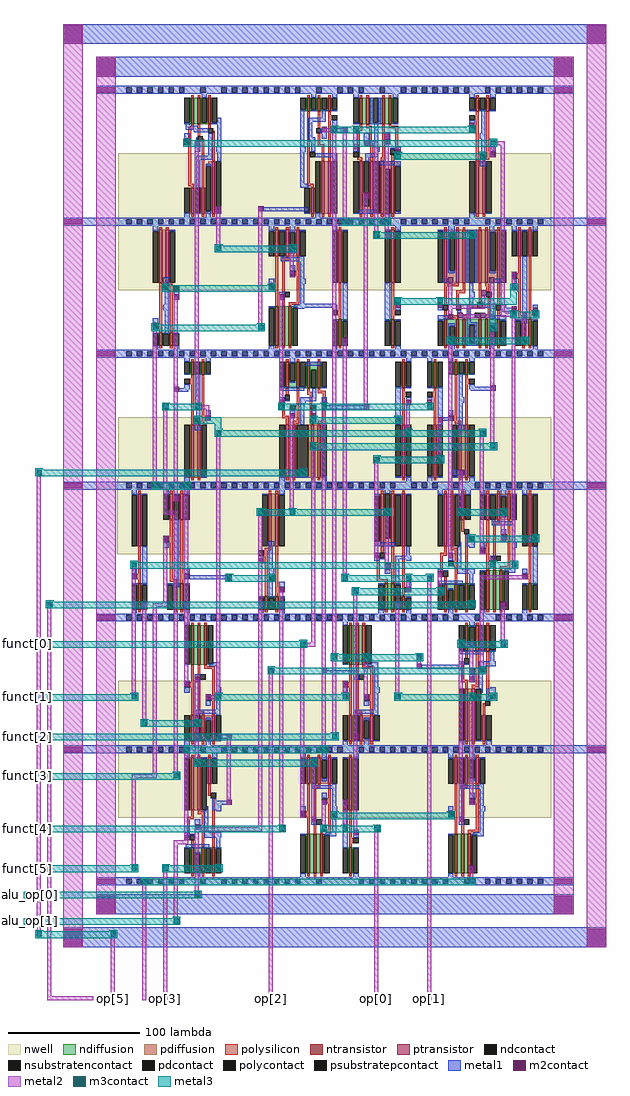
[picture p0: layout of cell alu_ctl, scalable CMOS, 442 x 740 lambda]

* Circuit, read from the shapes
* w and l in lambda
.subckt alu_ctl alu_op[0] alu_op[1] funct[0] funct[1] funct[2] funct[3] funct[4] funct[5] gnd op[0] op[1] op[2] op[3] op[4] op[5] op[6] vdd
M1 NAND3X1_2/B funct[1] gnd gnd nfet w=20 l=2
M2 NAND3X1_0/A NAND3X1_2/A gnd gnd nfet w=10 l=2
M3 gnd NOR2X1_2/A NAND3X1_0/A gnd nfet w=10 l=2
M4 n1 funct[5] NOR2X1_2/A gnd nfet w=20 l=2
M5 gnd NAND2X1_1/A n1 gnd nfet w=20 l=2
M6 gnd alu_op[1] n2 gnd nfet w=20 l=2
M7 n3 NAND3X1_2/A gnd gnd nfet w=30 l=2
M8 INVX2_2/A NOR2X1_2/A gnd gnd nfet w=10 l=2
M9 n4 funct[1] n5 gnd nfet w=20 l=2
M10 n6 NAND3X1_2/B n3 gnd nfet w=30 l=2
M11 gnd funct[3] n4 gnd nfet w=20 l=2
M12 n2 alu_op[0] gnd gnd nfet w=20 l=2
M13 gnd funct[3] INVX2_2/A gnd nfet w=10 l=2
M14 OAI21X1_2/C INVX2_2/A n6 gnd nfet w=30 l=2
M15 NAND3X1_0/C n5 gnd gnd nfet w=20 l=2
M16 op[3] OAI21X1_2/C n2 gnd nfet w=20 l=2
M17 NAND2X1_1/A alu_op[0] gnd gnd nfet w=10 l=2
M18 gnd funct[4] NAND2X1_1/A gnd nfet w=10 l=2
M19 n7 NAND3X1_0/A gnd gnd nfet w=30 l=2
M20 n8 alu_op[1] n7 gnd nfet w=30 l=2
M21 gnd alu_op[1] n9 gnd nfet w=20 l=2
M22 INVX2_0/A NAND3X1_0/C n8 gnd nfet w=30 l=2
M23 n9 alu_op[0] gnd gnd nfet w=20 l=2
M24 n10 funct[0] gnd gnd nfet w=30 l=2
M25 op[5] OAI22X1_0/D n9 gnd nfet w=20 l=2
M26 gnd n11 NAND3X1_2/A gnd nfet w=10 l=2
M27 n12 NAND3X1_2/B n10 gnd nfet w=30 l=2
M28 n9 OAI22X1_0/C op[5] gnd nfet w=20 l=2
M29 n11 funct[2] gnd gnd nfet w=10 l=2
M30 NAND3X1_5/A op[0] n12 gnd nfet w=30 l=2
M31 gnd OR2X1_0/A n11 gnd nfet w=10 l=2
M32 op[1] INVX2_0/A gnd gnd nfet w=20 l=2
M33 gnd INVX2_6/A op[0] gnd nfet w=20 l=2
M34 n13 INVX2_2/A gnd gnd nfet w=30 l=2
M35 n14 alu_op[1] n13 gnd nfet w=30 l=2
M36 n15 funct[2] gnd gnd nfet w=20 l=2
M37 INVX2_6/A funct[2] n14 gnd nfet w=30 l=2
M38 OAI22X1_0/C AOI22X1_0/D n15 gnd nfet w=20 l=2
M39 n16 OR2X1_0/A OAI22X1_0/C gnd nfet w=20 l=2
M40 n17 AOI21X1_0/A gnd gnd nfet w=20 l=2
M41 gnd AOI22X1_0/A n16 gnd nfet w=20 l=2
M42 NAND3X1_5/C alu_op[0] n17 gnd nfet w=20 l=2
M43 gnd funct[0] OR2X1_0/A gnd nfet w=20 l=2
M44 gnd op[1] NAND3X1_5/C gnd nfet w=10 l=2
M45 gnd INVX2_2/A OAI22X1_0/D gnd nfet w=20 l=2
M46 AOI21X1_0/A alu_op[1] gnd gnd nfet w=20 l=2
M47 gnd INVX2_6/A n18 gnd nfet w=20 l=2
M48 gnd funct[0] n19 gnd nfet w=20 l=2
M49 n20 NAND3X1_5/A gnd gnd nfet w=30 l=2
M50 n18 OAI21X1_0/B gnd gnd nfet w=20 l=2
M51 NAND3X1_1/C AOI21X1_0/A gnd gnd nfet w=10 l=2
M52 n21 funct[0] gnd gnd nfet w=20 l=2
M53 n22 NAND3X1_5/B n20 gnd nfet w=30 l=2
M54 AOI22X1_0/D funct[1] n21 gnd nfet w=20 l=2
M55 gnd funct[2] n23 gnd nfet w=20 l=2
M56 op[6] OAI21X1_0/C n18 gnd nfet w=20 l=2
M57 gnd funct[0] NAND3X1_1/C gnd nfet w=10 l=2
M58 op[4] NAND3X1_5/C n22 gnd nfet w=30 l=2
M59 n23 NAND3X1_5/B gnd gnd nfet w=20 l=2
M60 AOI22X1_0/A funct[2] gnd gnd nfet w=10 l=2
M61 n24 n25 AOI22X1_0/D gnd nfet w=20 l=2
M62 gnd n19 n24 gnd nfet w=20 l=2
M63 op[2] NAND3X1_5/C n23 gnd nfet w=20 l=2
M64 n26 INVX2_2/A gnd gnd nfet w=30 l=2
M65 gnd funct[1] AOI22X1_0/A gnd nfet w=10 l=2
M66 n27 funct[1] n26 gnd nfet w=30 l=2
M67 n25 funct[1] gnd gnd nfet w=20 l=2
M68 NAND3X1_5/B NAND3X1_1/C n27 gnd nfet w=30 l=2
M69 n28 funct[0] OAI21X1_0/B gnd nfet w=20 l=2
M70 OAI21X1_0/C op[2] gnd gnd nfet w=20 l=2
M71 gnd funct[1] n28 gnd nfet w=20 l=2
M72 NAND3X1_2/B funct[1] vdd vdd pfet w=40 l=2
M73 n29 NAND3X1_2/A vdd vdd pfet w=40 l=2
M74 NAND3X1_0/A NOR2X1_2/A n29 vdd pfet w=40 l=2
M75 NOR2X1_2/A funct[5] vdd vdd pfet w=20 l=2
M76 vdd NAND2X1_1/A NOR2X1_2/A vdd pfet w=20 l=2
M77 n30 alu_op[1] vdd vdd pfet w=40 l=2
M78 OAI21X1_2/C NAND3X1_2/A vdd vdd pfet w=20 l=2
M79 n31 NOR2X1_2/A vdd vdd pfet w=40 l=2
M80 n5 funct[1] vdd vdd pfet w=20 l=2
M81 op[3] alu_op[0] n30 vdd pfet w=40 l=2
M82 INVX2_2/A funct[3] n31 vdd pfet w=40 l=2
M83 vdd NAND3X1_2/B OAI21X1_2/C vdd pfet w=20 l=2
M84 vdd funct[3] n5 vdd pfet w=20 l=2
M85 vdd OAI21X1_2/C op[3] vdd pfet w=20 l=2
M86 OAI21X1_2/C INVX2_2/A vdd vdd pfet w=20 l=2
M87 NAND3X1_0/C n5 vdd vdd pfet w=40 l=2
M88 n32 alu_op[0] NAND2X1_1/A vdd pfet w=40 l=2
M89 vdd funct[4] n32 vdd pfet w=40 l=2
M90 INVX2_0/A NAND3X1_0/A vdd vdd pfet w=20 l=2
M91 n33 alu_op[1] vdd vdd pfet w=40 l=2
M92 vdd alu_op[1] INVX2_0/A vdd pfet w=20 l=2
M93 op[5] alu_op[0] n33 vdd pfet w=40 l=2
M94 INVX2_0/A NAND3X1_0/C vdd vdd pfet w=20 l=2
M95 NAND3X1_5/A funct[0] vdd vdd pfet w=20 l=2
M96 n34 OAI22X1_0/D op[5] vdd pfet w=40 l=2
M97 vdd n11 NAND3X1_2/A vdd pfet w=20 l=2
M98 vdd NAND3X1_2/B NAND3X1_5/A vdd pfet w=20 l=2
M99 vdd OAI22X1_0/C n34 vdd pfet w=40 l=2
M100 n35 funct[2] vdd vdd pfet w=40 l=2
M101 NAND3X1_5/A op[0] vdd vdd pfet w=20 l=2
M102 n11 OR2X1_0/A n35 vdd pfet w=40 l=2
M103 op[1] INVX2_0/A vdd vdd pfet w=40 l=2
M104 vdd INVX2_6/A op[0] vdd pfet w=40 l=2
M105 INVX2_6/A INVX2_2/A vdd vdd pfet w=20 l=2
M106 vdd alu_op[1] INVX2_6/A vdd pfet w=20 l=2
M107 OAI22X1_0/C funct[2] n36 vdd pfet w=40 l=2
M108 INVX2_6/A funct[2] vdd vdd pfet w=20 l=2
M109 n36 AOI22X1_0/D OAI22X1_0/C vdd pfet w=40 l=2
M110 vdd AOI21X1_0/A n37 vdd pfet w=40 l=2
M111 vdd OR2X1_0/A n36 vdd pfet w=40 l=2
M112 n37 alu_op[0] vdd vdd pfet w=40 l=2
M113 vdd funct[0] OR2X1_0/A vdd pfet w=40 l=2
M114 n36 AOI22X1_0/A vdd vdd pfet w=40 l=2
M115 NAND3X1_5/C op[1] n37 vdd pfet w=40 l=2
M116 vdd INVX2_2/A OAI22X1_0/D vdd pfet w=40 l=2
M117 AOI21X1_0/A alu_op[1] vdd vdd pfet w=40 l=2
M118 n38 INVX2_6/A vdd vdd pfet w=40 l=2
M119 vdd funct[0] n19 vdd pfet w=40 l=2
M120 op[6] OAI21X1_0/B n38 vdd pfet w=40 l=2
M121 op[4] NAND3X1_5/A vdd vdd pfet w=20 l=2
M122 n39 funct[0] vdd vdd pfet w=40 l=2
M123 n40 AOI21X1_0/A NAND3X1_1/C vdd pfet w=40 l=2
M124 vdd OAI21X1_0/C op[6] vdd pfet w=20 l=2
M125 AOI22X1_0/D n25 n39 vdd pfet w=40 l=2
M126 vdd NAND3X1_5/B op[4] vdd pfet w=20 l=2
M127 n41 funct[2] vdd vdd pfet w=40 l=2
M128 vdd funct[0] n40 vdd pfet w=40 l=2
M129 op[2] NAND3X1_5/B n41 vdd pfet w=40 l=2
M130 op[4] NAND3X1_5/C vdd vdd pfet w=20 l=2
M131 n42 funct[2] vdd vdd pfet w=40 l=2
M132 n43 funct[1] AOI22X1_0/D vdd pfet w=40 l=2
M133 vdd NAND3X1_5/C op[2] vdd pfet w=20 l=2
M134 AOI22X1_0/A funct[1] n42 vdd pfet w=40 l=2
M135 vdd n19 n43 vdd pfet w=40 l=2
M136 NAND3X1_5/B INVX2_2/A vdd vdd pfet w=20 l=2
M137 vdd funct[1] NAND3X1_5/B vdd pfet w=20 l=2
M138 n25 funct[1] vdd vdd pfet w=40 l=2
M139 NAND3X1_5/B NAND3X1_1/C vdd vdd pfet w=20 l=2
M140 OAI21X1_0/B funct[0] vdd vdd pfet w=20 l=2
M141 OAI21X1_0/C op[2] vdd vdd pfet w=40 l=2
M142 vdd funct[1] OAI21X1_0/B vdd pfet w=20 l=2
.ends

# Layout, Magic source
magic
tech scmos
<< metal1 >>
rect 30 725 442 740
rect 55 700 417 715
rect 55 687 417 693
rect 234 661 238 664
rect 225 657 230 661
rect 234 658 245 661
rect 130 643 134 652
rect 258 648 262 657
rect 346 632 350 642
rect 178 598 216 601
rect 30 587 442 593
rect 106 538 110 548
rect 210 525 237 528
rect 363 522 373 525
rect 55 487 417 493
rect 114 461 125 464
rect 339 462 357 465
rect 227 448 261 451
rect 130 432 134 442
rect 314 439 325 442
rect 325 398 334 402
rect 30 387 442 393
rect 335 344 342 352
rect 123 319 157 322
rect 186 318 190 327
rect 55 287 417 293
rect 298 251 333 254
rect 226 247 253 250
rect 345 248 350 257
rect 351 228 358 236
rect 147 198 157 201
rect 30 187 442 193
rect 143 148 157 151
rect 143 144 150 148
rect 234 138 238 147
rect 55 87 417 93
rect 55 65 417 80
rect 30 40 442 55
<< metal2 >>
rect 10 48 13 401
rect 18 3 21 301
rect 30 40 45 740
rect 55 65 70 715
rect 226 658 237 661
rect 98 388 101 511
rect 106 371 109 451
rect 114 378 117 534
rect 130 451 133 651
rect 146 568 149 601
rect 178 508 181 601
rect 202 548 205 571
rect 194 451 197 534
rect 130 448 141 451
rect 138 439 141 448
rect 106 368 117 371
rect 82 228 85 331
rect 106 301 109 351
rect 90 208 93 301
rect 98 298 109 301
rect 98 171 101 298
rect 82 168 101 171
rect 114 168 117 368
rect 122 238 125 391
rect 82 98 85 168
rect 122 121 125 191
rect 130 178 133 244
rect 146 231 149 431
rect 138 228 149 231
rect 154 148 157 201
rect 178 131 181 371
rect 202 368 205 444
rect 114 118 125 121
rect 130 128 181 131
rect 18 0 53 3
rect 66 0 69 51
rect 90 0 93 91
rect 106 0 109 101
rect 114 58 117 118
rect 130 78 133 128
rect 186 0 189 251
rect 194 128 197 312
rect 218 271 221 421
rect 210 268 221 271
rect 210 138 213 268
rect 226 188 229 451
rect 234 198 237 658
rect 242 588 245 661
rect 250 645 253 661
rect 258 648 269 651
rect 242 318 245 501
rect 258 448 261 611
rect 266 578 269 648
rect 274 578 277 657
rect 354 648 365 651
rect 354 639 357 648
rect 362 521 365 648
rect 370 538 373 551
rect 362 518 373 521
rect 290 428 293 454
rect 266 335 269 411
rect 314 408 317 441
rect 274 326 277 371
rect 322 335 325 501
rect 330 368 333 401
rect 346 338 349 431
rect 354 418 357 511
rect 362 348 365 371
rect 370 328 373 518
rect 378 498 381 521
rect 242 228 245 241
rect 218 135 221 181
rect 226 128 229 151
rect 242 128 245 151
rect 250 125 253 311
rect 290 309 293 321
rect 258 228 261 261
rect 282 228 285 301
rect 298 251 301 261
rect 266 0 269 131
rect 306 0 309 321
rect 314 308 317 324
rect 346 319 381 322
rect 330 268 341 271
rect 330 135 333 268
rect 338 241 341 268
rect 346 248 349 319
rect 362 268 365 301
rect 338 148 341 231
rect 338 88 341 101
rect 402 65 417 715
rect 427 40 442 740
<< metal3 >>
rect 233 657 342 662
rect 121 647 358 652
rect 281 637 350 642
rect 241 587 278 592
rect 265 577 342 582
rect 145 567 206 572
rect 105 537 190 542
rect 369 532 374 542
rect 281 527 374 532
rect 97 507 182 512
rect 353 507 358 527
rect 369 517 390 522
rect 321 497 382 502
rect 105 447 134 452
rect 193 447 310 452
rect 129 437 150 442
rect 217 437 286 442
rect 145 432 150 437
rect 145 427 350 432
rect 217 417 358 422
rect 265 407 318 412
rect 9 397 214 402
rect 97 387 126 392
rect 177 367 278 372
rect 329 367 366 372
rect 337 347 390 352
rect 81 327 374 332
rect 153 317 190 322
rect 241 317 310 322
rect 249 307 318 312
rect 17 297 342 302
rect 0 267 214 272
rect 329 267 366 272
rect 233 257 302 262
rect 185 247 350 252
rect 0 227 86 232
rect 145 227 246 232
rect 281 227 358 232
rect 89 207 134 212
rect 0 197 238 202
rect 121 187 230 192
rect 129 177 222 182
rect 0 167 118 172
rect 233 137 326 142
rect 0 127 198 132
rect 225 127 270 132
rect 0 97 86 102
rect 105 97 150 102
rect 89 87 342 92
rect 0 77 134 82
rect 0 57 118 62
rect 9 47 70 52
use $$M2_M1_1500_1500_3_3  $$M2_M1_1500_1500_3_3_0
transform 1 0 37 0 1 732
box -7 -7 7 7
use $$M2_M1_1500_1500_3_3  $$M2_M1_1500_1500_3_3_1
transform 1 0 434 0 1 732
box -7 -7 7 7
use $$M2_M1_1500_1500_3_3  $$M2_M1_1500_1500_3_3_2
transform 1 0 62 0 1 707
box -7 -7 7 7
use $$M2_M1_1500_1500_3_3  $$M2_M1_1500_1500_3_3_3
transform 1 0 409 0 1 707
box -7 -7 7 7
use $$M2_M1_1500_1500_3_1  $$M2_M1_1500_1500_3_1_0
transform 1 0 62 0 1 690
box -7 -2 7 2
use $$M2_M1  $$M2_M1_0
transform 1 0 124 0 1 650
box -2 -2 2 2
use $$M3_M2  $$M3_M2_0
transform 1 0 124 0 1 650
box -3 -3 3 3
use $$M2_M1  $$M2_M1_1
transform 1 0 132 0 1 650
box -2 -2 2 2
use $$M2_M1  $$M2_M1_5
transform 1 0 148 0 1 600
box -2 -2 2 2
use $$M2_M1  $$M2_M1_6
transform 1 0 180 0 1 600
box -2 -2 2 2
use $$M2_M1  $$M2_M1_3
transform 1 0 228 0 1 660
box -2 -2 2 2
use $$M3_M2  $$M3_M2_1
transform 1 0 236 0 1 660
box -3 -3 3 3
use $$M2_M1  $$M2_M1_4
transform 1 0 244 0 1 660
box -2 -2 2 2
use $$M3_M2  $$M3_M2_2
transform 1 0 252 0 1 660
box -3 -3 3 3
use $$M2_M1  $$M2_M1_7
transform 1 0 276 0 1 656
box -2 -2 2 2
use $$M2_M1  $$M2_M1_9
transform 1 0 252 0 1 647
box -2 -2 2 2
use $$M2_M1  $$M2_M1_8
transform 1 0 260 0 1 650
box -2 -2 2 2
use $$M2_M1  $$M2_M1_10
transform 1 0 284 0 1 643
box -2 -2 2 2
use $$M3_M2  $$M3_M2_5
transform 1 0 284 0 1 640
box -3 -3 3 3
use $$M2_M1  $$M2_M1_13
transform 1 0 260 0 1 610
box -2 -2 2 2
use $$M2_M1  $$M2_M1_2
transform 1 0 340 0 1 663
box -2 -2 2 2
use $$M3_M2  $$M3_M2_3
transform 1 0 340 0 1 660
box -3 -3 3 3
use $$M3_M2  $$M3_M2_4
transform 1 0 356 0 1 650
box -3 -3 3 3
use $$M2_M1  $$M2_M1_12
transform 1 0 348 0 1 640
box -2 -2 2 2
use $$M3_M2  $$M3_M2_6
transform 1 0 348 0 1 640
box -3 -3 3 3
use $$M2_M1  $$M2_M1_11
transform 1 0 356 0 1 641
box -2 -2 2 2
use $$M2_M1_1500_1500_3_1  $$M2_M1_1500_1500_3_1_1
transform 1 0 409 0 1 690
box -7 -2 7 2
use $$M2_M1_1500_1500_3_1  $$M2_M1_1500_1500_3_1_2
transform 1 0 37 0 1 590
box -7 -2 7 2
use FILL  FILL_0
transform 1 0 80 0 -1 690
box -8 -3 16 105
use FILL  FILL_1
transform 1 0 88 0 -1 690
box -8 -3 16 105
use FILL  FILL_2
transform 1 0 96 0 -1 690
box -8 -3 16 105
use FILL  FILL_3
transform 1 0 104 0 -1 690
box -8 -3 16 105
use FILL  FILL_4
transform 1 0 112 0 -1 690
box -8 -3 16 105
use AND2X2  AND2X2_0
transform 1 0 120 0 -1 690
box -8 -3 40 105
use FILL  FILL_5
transform 1 0 152 0 -1 690
box -8 -3 16 105
use FILL  FILL_6
transform 1 0 160 0 -1 690
box -8 -3 16 105
use FILL  FILL_7
transform 1 0 168 0 -1 690
box -8 -3 16 105
use FILL  FILL_8
transform 1 0 176 0 -1 690
box -8 -3 16 105
use FILL  FILL_9
transform 1 0 184 0 -1 690
box -8 -3 16 105
use FILL  FILL_10
transform 1 0 192 0 -1 690
box -8 -3 16 105
use FILL  FILL_11
transform 1 0 200 0 -1 690
box -8 -3 16 105
use $$M3_M2  $$M3_M2_7
transform 1 0 244 0 1 590
box -3 -3 3 3
use OR2X1  OR2X1_0
transform -1 0 240 0 -1 690
box -8 -3 40 105
use FILL  FILL_12
transform 1 0 240 0 -1 690
box -8 -3 16 105
use $$M3_M2  $$M3_M2_14
transform 1 0 276 0 1 590
box -3 -3 3 3
use AOI22X1  AOI22X1_0
transform -1 0 288 0 -1 690
box -8 -3 46 105
use FILL  FILL_13
transform 1 0 288 0 -1 690
box -8 -3 16 105
use FILL  FILL_14
transform 1 0 296 0 -1 690
box -8 -3 16 105
use FILL  FILL_15
transform 1 0 304 0 -1 690
box -8 -3 16 105
use FILL  FILL_16
transform 1 0 312 0 -1 690
box -8 -3 16 105
use FILL  FILL_17
transform 1 0 320 0 -1 690
box -8 -3 16 105
use FILL  FILL_18
transform 1 0 328 0 -1 690
box -8 -3 16 105
use NOR2X1  NOR2X1_0
transform 1 0 336 0 -1 690
box -8 -3 32 105
use FILL  FILL_19
transform 1 0 360 0 -1 690
box -8 -3 16 105
use FILL  FILL_20
transform 1 0 368 0 -1 690
box -8 -3 16 105
use FILL  FILL_21
transform 1 0 376 0 -1 690
box -8 -3 16 105
use FILL  FILL_22
transform 1 0 384 0 -1 690
box -8 -3 16 105
use $$M2_M1_1500_1500_3_1  $$M2_M1_1500_1500_3_1_4
transform 1 0 434 0 1 590
box -7 -2 7 2
use $$M2_M1  $$M2_M1_15
transform 1 0 108 0 1 540
box -2 -2 2 2
use $$M3_M2  $$M3_M2_10
transform 1 0 108 0 1 540
box -3 -3 3 3
use $$M2_M1  $$M2_M1_19
transform 1 0 100 0 1 511
box -2 -2 2 2
use $$M3_M2  $$M3_M2_12
transform 1 0 100 0 1 510
box -3 -3 3 3
use $$M2_M1  $$M2_M1_17
transform 1 0 116 0 1 533
box -2 -2 2 2
use $$M3_M2  $$M3_M2_8
transform 1 0 148 0 1 570
box -3 -3 3 3
use $$M3_M2  $$M3_M2_9
transform 1 0 204 0 1 570
box -3 -3 3 3
use $$M2_M1  $$M2_M1_14
transform 1 0 204 0 1 550
box -2 -2 2 2
use $$M2_M1  $$M2_M1_16
transform 1 0 188 0 1 540
box -2 -2 2 2
use $$M3_M2  $$M3_M2_11
transform 1 0 188 0 1 540
box -3 -3 3 3
use $$M3_M2  $$M3_M2_13
transform 1 0 180 0 1 510
box -3 -3 3 3
use $$M2_M1  $$M2_M1_18
transform 1 0 196 0 1 533
box -2 -2 2 2
use $$M2_M1  $$M2_M1_20
transform 1 0 244 0 1 500
box -2 -2 2 2
use $$M3_M2  $$M3_M2_15
transform 1 0 268 0 1 580
box -3 -3 3 3
use $$M2_M1  $$M2_M1_21
transform 1 0 276 0 1 580
box -2 -2 2 2
use $$M3_M2  $$M3_M2_18
transform 1 0 284 0 1 530
box -3 -3 3 3
use $$M2_M1  $$M2_M1_24
transform 1 0 284 0 1 527
box -2 -2 2 2
use $$M2_M1  $$M2_M1_22
transform 1 0 340 0 1 580
box -2 -2 2 2
use $$M3_M2  $$M3_M2_16
transform 1 0 340 0 1 580
box -3 -3 3 3
use $$M3_M2  $$M3_M2_19
transform 1 0 316 0 1 530
box -3 -3 3 3
use $$M2_M1  $$M2_M1_25
transform 1 0 316 0 1 527
box -2 -2 2 2
use $$M2_M1  $$M2_M1_23
transform 1 0 372 0 1 550
box -2 -2 2 2
use $$M3_M2  $$M3_M2_17
transform 1 0 372 0 1 540
box -3 -3 3 3
use $$M2_M1  $$M2_M1_26
transform 1 0 372 0 1 524
box -2 -2 2 2
use $$M3_M2  $$M3_M2_20
transform 1 0 372 0 1 520
box -3 -3 3 3
use $$M2_M1  $$M2_M1_28
transform 1 0 380 0 1 520
box -2 -2 2 2
use $$M2_M1  $$M2_M1_27
transform 1 0 388 0 1 523
box -2 -2 2 2
use $$M3_M2  $$M3_M2_21
transform 1 0 388 0 1 520
box -3 -3 3 3
use $$M3_M2  $$M3_M2_22
transform 1 0 356 0 1 510
box -3 -3 3 3
use $$M3_M2  $$M3_M2_23
transform 1 0 324 0 1 500
box -3 -3 3 3
use $$M3_M2  $$M3_M2_24
transform 1 0 380 0 1 500
box -3 -3 3 3
use $$M2_M1_1500_1500_3_1  $$M2_M1_1500_1500_3_1_3
transform 1 0 62 0 1 490
box -7 -2 7 2
use FILL  FILL_23
transform -1 0 88 0 1 490
box -8 -3 16 105
use FILL  FILL_24
transform -1 0 96 0 1 490
box -8 -3 16 105
use NOR2X1  NOR2X1_1
transform 1 0 96 0 1 490
box -8 -3 32 105
use FILL  FILL_25
transform -1 0 128 0 1 490
box -8 -3 16 105
use FILL  FILL_26
transform -1 0 136 0 1 490
box -8 -3 16 105
use FILL  FILL_27
transform -1 0 144 0 1 490
box -8 -3 16 105
use FILL  FILL_28
transform -1 0 152 0 1 490
box -8 -3 16 105
use FILL  FILL_29
transform -1 0 160 0 1 490
box -8 -3 16 105
use FILL  FILL_30
transform -1 0 168 0 1 490
box -8 -3 16 105
use FILL  FILL_31
transform -1 0 176 0 1 490
box -8 -3 16 105
use FILL  FILL_32
transform -1 0 184 0 1 490
box -8 -3 16 105
use NAND3X1  NAND3X1_0
transform 1 0 184 0 1 490
box -8 -3 40 105
use FILL  FILL_33
transform -1 0 224 0 1 490
box -8 -3 16 105
use FILL  FILL_34
transform -1 0 232 0 1 490
box -8 -3 16 105
use INVX2  INVX2_0
transform 1 0 232 0 1 490
box -9 -3 26 105
use FILL  FILL_35
transform -1 0 256 0 1 490
box -8 -3 16 105
use FILL  FILL_51
transform -1 0 264 0 1 490
box -8 -3 16 105
use FILL  FILL_52
transform -1 0 272 0 1 490
box -8 -3 16 105
use INVX2  INVX2_1
transform -1 0 288 0 1 490
box -9 -3 26 105
use FILL  FILL_53
transform -1 0 296 0 1 490
box -8 -3 16 105
use FILL  FILL_54
transform -1 0 304 0 1 490
box -8 -3 16 105
use FILL  FILL_55
transform -1 0 312 0 1 490
box -8 -3 16 105
use XOR2X1  XOR2X1_0
transform -1 0 368 0 1 490
box -8 -3 64 105
use NAND2X1  NAND2X1_0
transform -1 0 392 0 1 490
box -8 -3 32 105
use $$M2_M1_1500_1500_3_1  $$M2_M1_1500_1500_3_1_5
transform 1 0 409 0 1 490
box -7 -2 7 2
use $$M3_M2  $$M3_M2_36
transform 1 0 12 0 1 400
box -3 -3 3 3
use $$M2_M1  $$M2_M1_29
transform 1 0 116 0 1 463
box -2 -2 2 2
use $$M3_M2  $$M3_M2_25
transform 1 0 108 0 1 450
box -3 -3 3 3
use $$M3_M2  $$M3_M2_26
transform 1 0 132 0 1 450
box -3 -3 3 3
use $$M2_M1  $$M2_M1_36
transform 1 0 132 0 1 440
box -2 -2 2 2
use $$M3_M2  $$M3_M2_29
transform 1 0 132 0 1 440
box -3 -3 3 3
use $$M2_M1  $$M2_M1_35
transform 1 0 140 0 1 441
box -2 -2 2 2
use $$M3_M2  $$M3_M2_32
transform 1 0 148 0 1 430
box -3 -3 3 3
use $$M2_M1  $$M2_M1_30
transform 1 0 196 0 1 453
box -2 -2 2 2
use $$M3_M2  $$M3_M2_27
transform 1 0 196 0 1 450
box -3 -3 3 3
use $$M3_M2  $$M3_M2_28
transform 1 0 228 0 1 450
box -3 -3 3 3
use $$M2_M1  $$M2_M1_33
transform 1 0 204 0 1 443
box -2 -2 2 2
use $$M2_M1  $$M2_M1_34
transform 1 0 220 0 1 443
box -2 -2 2 2
use $$M3_M2  $$M3_M2_30
transform 1 0 220 0 1 440
box -3 -3 3 3
use $$M3_M2  $$M3_M2_34
transform 1 0 220 0 1 420
box -3 -3 3 3
use $$M2_M1  $$M2_M1_38
transform 1 0 212 0 1 400
box -2 -2 2 2
use $$M3_M2  $$M3_M2_37
transform 1 0 212 0 1 400
box -3 -3 3 3
use $$M2_M1  $$M2_M1_32
transform 1 0 260 0 1 450
box -2 -2 2 2
use $$M3_M2  $$M3_M2_35
transform 1 0 268 0 1 410
box -3 -3 3 3
use $$M2_M1  $$M2_M1_31
transform 1 0 292 0 1 453
box -2 -2 2 2
use $$M2_M1  $$M2_M1_37
transform 1 0 284 0 1 440
box -2 -2 2 2
use $$M3_M2  $$M3_M2_31
transform 1 0 284 0 1 440
box -3 -3 3 3
use $$M3_M2  $$M3_M2_33
transform 1 0 292 0 1 430
box -3 -3 3 3
use $$M2_M1  $$M2_M1_40
transform 1 0 308 0 1 453
box -2 -2 2 2
use $$M3_M2  $$M3_M2_40
transform 1 0 308 0 1 450
box -3 -3 3 3
use $$M2_M1  $$M2_M1_41
transform 1 0 316 0 1 440
box -2 -2 2 2
use $$M3_M2  $$M3_M2_43
transform 1 0 316 0 1 410
box -3 -3 3 3
use $$M2_M1  $$M2_M1_42
transform 1 0 332 0 1 400
box -2 -2 2 2
use $$M2_M1  $$M2_M1_39
transform 1 0 356 0 1 464
box -2 -2 2 2
use $$M3_M2  $$M3_M2_41
transform 1 0 348 0 1 430
box -3 -3 3 3
use $$M3_M2  $$M3_M2_42
transform 1 0 356 0 1 420
box -3 -3 3 3
use $$M2_M1_1500_1500_3_1  $$M2_M1_1500_1500_3_1_6
transform 1 0 37 0 1 390
box -7 -2 7 2
use FILL  FILL_36
transform 1 0 80 0 -1 490
box -8 -3 16 105
use $$M3_M2  $$M3_M2_38
transform 1 0 100 0 1 390
box -3 -3 3 3
use FILL  FILL_37
transform 1 0 88 0 -1 490
box -8 -3 16 105
use FILL  FILL_38
transform 1 0 96 0 -1 490
box -8 -3 16 105
use FILL  FILL_39
transform 1 0 104 0 -1 490
box -8 -3 16 105
use $$M3_M2  $$M3_M2_39
transform 1 0 124 0 1 390
box -3 -3 3 3
use FILL  FILL_40
transform 1 0 112 0 -1 490
box -8 -3 16 105
use NOR2X1  NOR2X1_2
transform 1 0 120 0 -1 490
box -8 -3 32 105
use FILL  FILL_41
transform 1 0 144 0 -1 490
box -8 -3 16 105
use FILL  FILL_42
transform 1 0 152 0 -1 490
box -8 -3 16 105
use FILL  FILL_43
transform 1 0 160 0 -1 490
box -8 -3 16 105
use FILL  FILL_44
transform 1 0 168 0 -1 490
box -8 -3 16 105
use FILL  FILL_45
transform 1 0 176 0 -1 490
box -8 -3 16 105
use FILL  FILL_46
transform 1 0 184 0 -1 490
box -8 -3 16 105
use OAI22X1  OAI22X1_0
transform 1 0 192 0 -1 490
box -8 -3 46 105
use FILL  FILL_47
transform 1 0 232 0 -1 490
box -8 -3 16 105
use FILL  FILL_48
transform 1 0 240 0 -1 490
box -8 -3 16 105
use FILL  FILL_49
transform 1 0 248 0 -1 490
box -8 -3 16 105
use FILL  FILL_50
transform 1 0 256 0 -1 490
box -8 -3 16 105
use FILL  FILL_56
transform 1 0 264 0 -1 490
box -8 -3 16 105
use FILL  FILL_57
transform 1 0 272 0 -1 490
box -8 -3 16 105
use INVX2  INVX2_2
transform -1 0 296 0 -1 490
box -9 -3 26 105
use FILL  FILL_58
transform 1 0 296 0 -1 490
box -8 -3 16 105
use INVX2  INVX2_3
transform 1 0 304 0 -1 490
box -9 -3 26 105
use NOR2X1  NOR2X1_3
transform -1 0 344 0 -1 490
box -8 -3 32 105
use FILL  FILL_59
transform 1 0 344 0 -1 490
box -8 -3 16 105
use FILL  FILL_60
transform 1 0 352 0 -1 490
box -8 -3 16 105
use FILL  FILL_61
transform 1 0 360 0 -1 490
box -8 -3 16 105
use FILL  FILL_62
transform 1 0 368 0 -1 490
box -8 -3 16 105
use FILL  FILL_63
transform 1 0 376 0 -1 490
box -8 -3 16 105
use FILL  FILL_64
transform 1 0 384 0 -1 490
box -8 -3 16 105
use $$M2_M1_1500_1500_3_1  $$M2_M1_1500_1500_3_1_7
transform 1 0 434 0 1 390
box -7 -2 7 2
use $$M3_M2  $$M3_M2_51
transform 1 0 84 0 1 330
box -3 -3 3 3
use $$M2_M1  $$M2_M1_55
transform 1 0 84 0 1 321
box -2 -2 2 2
use $$M3_M2  $$M3_M2_61
transform 1 0 20 0 1 300
box -3 -3 3 3
use $$M2_M1  $$M2_M1_61
transform 1 0 92 0 1 300
box -2 -2 2 2
use $$M2_M1  $$M2_M1_43
transform 1 0 116 0 1 380
box -2 -2 2 2
use $$M2_M1  $$M2_M1_44
transform 1 0 108 0 1 350
box -2 -2 2 2
use $$M2_M1  $$M2_M1_56
transform 1 0 156 0 1 321
box -2 -2 2 2
use $$M3_M2  $$M3_M2_54
transform 1 0 156 0 1 320
box -3 -3 3 3
use $$M3_M2  $$M3_M2_44
transform 1 0 180 0 1 370
box -3 -3 3 3
use $$M2_M1  $$M2_M1_52
transform 1 0 180 0 1 333
box -2 -2 2 2
use $$M2_M1  $$M2_M1_58
transform 1 0 188 0 1 320
box -2 -2 2 2
use $$M3_M2  $$M3_M2_55
transform 1 0 188 0 1 320
box -3 -3 3 3
use $$M3_M2  $$M3_M2_45
transform 1 0 204 0 1 370
box -3 -3 3 3
use $$M2_M1  $$M2_M1_59
transform 1 0 196 0 1 311
box -2 -2 2 2
use $$M3_M2  $$M3_M2_56
transform 1 0 244 0 1 320
box -3 -3 3 3
use $$M3_M2  $$M3_M2_59
transform 1 0 252 0 1 310
box -3 -3 3 3
use $$M3_M2  $$M3_M2_46
transform 1 0 276 0 1 370
box -3 -3 3 3
use $$M2_M1  $$M2_M1_49
transform 1 0 268 0 1 337
box -2 -2 2 2
use $$M2_M1  $$M2_M1_53
transform 1 0 276 0 1 328
box -2 -2 2 2
use $$M3_M2  $$M3_M2_57
transform 1 0 292 0 1 320
box -3 -3 3 3
use $$M2_M1  $$M2_M1_60
transform 1 0 292 0 1 311
box -2 -2 2 2
use $$M2_M1  $$M2_M1_62
transform 1 0 284 0 1 300
box -2 -2 2 2
use $$M3_M2  $$M3_M2_47
transform 1 0 332 0 1 370
box -3 -3 3 3
use $$M3_M2  $$M3_M2_48
transform 1 0 364 0 1 370
box -3 -3 3 3
use $$M2_M1  $$M2_M1_45
transform 1 0 340 0 1 350
box -2 -2 2 2
use $$M3_M2  $$M3_M2_49
transform 1 0 340 0 1 350
box -3 -3 3 3
use $$M2_M1  $$M2_M1_46
transform 1 0 364 0 1 350
box -2 -2 2 2
use $$M2_M1  $$M2_M1_50
transform 1 0 324 0 1 337
box -2 -2 2 2
use $$M3_M2  $$M3_M2_58
transform 1 0 308 0 1 320
box -3 -3 3 3
use $$M2_M1  $$M2_M1_54
transform 1 0 316 0 1 323
box -2 -2 2 2
use $$M3_M2  $$M3_M2_60
transform 1 0 316 0 1 310
box -3 -3 3 3
use $$M2_M1  $$M2_M1_48
transform 1 0 348 0 1 340
box -2 -2 2 2
use $$M2_M1  $$M2_M1_47
transform 1 0 388 0 1 350
box -2 -2 2 2
use $$M3_M2  $$M3_M2_50
transform 1 0 388 0 1 350
box -3 -3 3 3
use $$M2_M1  $$M2_M1_51
transform 1 0 356 0 1 334
box -2 -2 2 2
use $$M3_M2  $$M3_M2_52
transform 1 0 356 0 1 330
box -3 -3 3 3
use $$M3_M2  $$M3_M2_53
transform 1 0 372 0 1 330
box -3 -3 3 3
use $$M2_M1  $$M2_M1_63
transform 1 0 340 0 1 300
box -2 -2 2 2
use $$M3_M2  $$M3_M2_62
transform 1 0 340 0 1 300
box -3 -3 3 3
use $$M2_M1  $$M2_M1_57
transform 1 0 380 0 1 321
box -2 -2 2 2
use $$M2_M1  $$M2_M1_64
transform 1 0 364 0 1 300
box -2 -2 2 2
use $$M2_M1_1500_1500_3_1  $$M2_M1_1500_1500_3_1_8
transform 1 0 62 0 1 290
box -7 -2 7 2
use INVX2  INVX2_4
transform 1 0 80 0 1 290
box -9 -3 26 105
use FILL  FILL_65
transform -1 0 104 0 1 290
box -8 -3 16 105
use NAND2X1  NAND2X1_1
transform -1 0 128 0 1 290
box -8 -3 32 105
use FILL  FILL_66
transform -1 0 136 0 1 290
box -8 -3 16 105
use FILL  FILL_67
transform -1 0 144 0 1 290
box -8 -3 16 105
use FILL  FILL_68
transform -1 0 152 0 1 290
box -8 -3 16 105
use FILL  FILL_69
transform -1 0 160 0 1 290
box -8 -3 16 105
use FILL  FILL_70
transform -1 0 168 0 1 290
box -8 -3 16 105
use FILL  FILL_71
transform -1 0 176 0 1 290
box -8 -3 16 105
use NOR2X1  NOR2X1_4
transform -1 0 200 0 1 290
box -8 -3 32 105
use FILL  FILL_72
transform -1 0 208 0 1 290
box -8 -3 16 105
use FILL  FILL_73
transform -1 0 216 0 1 290
box -8 -3 16 105
use FILL  FILL_74
transform -1 0 224 0 1 290
box -8 -3 16 105
use FILL  FILL_75
transform -1 0 232 0 1 290
box -8 -3 16 105
use FILL  FILL_76
transform -1 0 240 0 1 290
box -8 -3 16 105
use FILL  FILL_77
transform -1 0 248 0 1 290
box -8 -3 16 105
use FILL  FILL_78
transform -1 0 256 0 1 290
box -8 -3 16 105
use FILL  FILL_79
transform -1 0 264 0 1 290
box -8 -3 16 105
use AOI21X1  AOI21X1_0
transform 1 0 264 0 1 290
box -7 -3 39 105
use FILL  FILL_80
transform -1 0 304 0 1 290
box -8 -3 16 105
use FILL  FILL_81
transform -1 0 312 0 1 290
box -8 -3 16 105
use OAI21X1  OAI21X1_0
transform 1 0 312 0 1 290
box -8 -3 34 105
use NAND3X1  NAND3X1_1
transform 1 0 344 0 1 290
box -8 -3 40 105
use INVX2  INVX2_5
transform 1 0 376 0 1 290
box -9 -3 26 105
use $$M2_M1_1500_1500_3_1  $$M2_M1_1500_1500_3_1_9
transform 1 0 409 0 1 290
box -7 -2 7 2
use $$M3_M2  $$M3_M2_71
transform 1 0 84 0 1 230
box -3 -3 3 3
use $$M3_M2  $$M3_M2_77
transform 1 0 92 0 1 210
box -3 -3 3 3
use $$M2_M1  $$M2_M1_70
transform 1 0 124 0 1 240
box -2 -2 2 2
use $$M2_M1  $$M2_M1_68
transform 1 0 132 0 1 243
box -2 -2 2 2
use $$M2_M1  $$M2_M1_72
transform 1 0 140 0 1 230
box -2 -2 2 2
use $$M3_M2  $$M3_M2_72
transform 1 0 148 0 1 230
box -3 -3 3 3
use $$M3_M2  $$M3_M2_78
transform 1 0 132 0 1 210
box -3 -3 3 3
use $$M2_M1  $$M2_M1_75
transform 1 0 156 0 1 200
box -2 -2 2 2
use $$M3_M2  $$M3_M2_69
transform 1 0 188 0 1 250
box -3 -3 3 3
use $$M3_M2  $$M3_M2_63
transform 1 0 212 0 1 270
box -3 -3 3 3
use $$M3_M2  $$M3_M2_66
transform 1 0 236 0 1 260
box -3 -3 3 3
use $$M2_M1  $$M2_M1_66
transform 1 0 228 0 1 250
box -2 -2 2 2
use $$M3_M2  $$M3_M2_67
transform 1 0 260 0 1 260
box -3 -3 3 3
use $$M2_M1  $$M2_M1_71
transform 1 0 244 0 1 240
box -2 -2 2 2
use $$M3_M2  $$M3_M2_73
transform 1 0 244 0 1 230
box -3 -3 3 3
use $$M2_M1  $$M2_M1_73
transform 1 0 260 0 1 230
box -2 -2 2 2
use $$M3_M2  $$M3_M2_79
transform 1 0 236 0 1 200
box -3 -3 3 3
use $$M2_M1  $$M2_M1_76
transform 1 0 252 0 1 200
box -2 -2 2 2
use $$M3_M2  $$M3_M2_74
transform 1 0 284 0 1 230
box -3 -3 3 3
use $$M3_M2  $$M3_M2_68
transform 1 0 300 0 1 260
box -3 -3 3 3
use $$M2_M1  $$M2_M1_65
transform 1 0 300 0 1 253
box -2 -2 2 2
use $$M3_M2  $$M3_M2_64
transform 1 0 332 0 1 270
box -3 -3 3 3
use $$M2_M1  $$M2_M1_67
transform 1 0 348 0 1 250
box -2 -2 2 2
use $$M3_M2  $$M3_M2_70
transform 1 0 348 0 1 250
box -3 -3 3 3
use $$M2_M1  $$M2_M1_69
transform 1 0 340 0 1 243
box -2 -2 2 2
use $$M3_M2  $$M3_M2_65
transform 1 0 364 0 1 270
box -3 -3 3 3
use $$M3_M2  $$M3_M2_75
transform 1 0 340 0 1 230
box -3 -3 3 3
use $$M2_M1  $$M2_M1_74
transform 1 0 356 0 1 230
box -2 -2 2 2
use $$M3_M2  $$M3_M2_76
transform 1 0 356 0 1 230
box -3 -3 3 3
use $$M2_M1_1500_1500_3_1  $$M2_M1_1500_1500_3_1_10
transform 1 0 37 0 1 190
box -7 -2 7 2
use FILL  FILL_82
transform 1 0 80 0 -1 290
box -8 -3 16 105
use FILL  FILL_83
transform 1 0 88 0 -1 290
box -8 -3 16 105
use FILL  FILL_84
transform 1 0 96 0 -1 290
box -8 -3 16 105
use FILL  FILL_85
transform 1 0 104 0 -1 290
box -8 -3 16 105
use $$M3_M2  $$M3_M2_80
transform 1 0 124 0 1 190
box -3 -3 3 3
use FILL  FILL_86
transform 1 0 112 0 -1 290
box -8 -3 16 105
use NAND3X1  NAND3X1_2
transform 1 0 120 0 -1 290
box -8 -3 40 105
use FILL  FILL_87
transform 1 0 152 0 -1 290
box -8 -3 16 105
use FILL  FILL_88
transform 1 0 160 0 -1 290
box -8 -3 16 105
use FILL  FILL_89
transform 1 0 168 0 -1 290
box -8 -3 16 105
use FILL  FILL_90
transform 1 0 176 0 -1 290
box -8 -3 16 105
use FILL  FILL_91
transform 1 0 184 0 -1 290
box -8 -3 16 105
use FILL  FILL_92
transform 1 0 192 0 -1 290
box -8 -3 16 105
use FILL  FILL_93
transform 1 0 200 0 -1 290
box -8 -3 16 105
use FILL  FILL_94
transform 1 0 208 0 -1 290
box -8 -3 16 105
use $$M3_M2  $$M3_M2_81
transform 1 0 228 0 1 190
box -3 -3 3 3
use FILL  FILL_95
transform 1 0 216 0 -1 290
box -8 -3 16 105
use FILL  FILL_96
transform 1 0 224 0 -1 290
box -8 -3 16 105
use FILL  FILL_97
transform 1 0 232 0 -1 290
box -8 -3 16 105
use NAND3X1  NAND3X1_3
transform 1 0 240 0 -1 290
box -8 -3 40 105
use FILL  FILL_98
transform 1 0 272 0 -1 290
box -8 -3 16 105
use FILL  FILL_99
transform 1 0 280 0 -1 290
box -8 -3 16 105
use FILL  FILL_100
transform 1 0 288 0 -1 290
box -8 -3 16 105
use FILL  FILL_101
transform 1 0 296 0 -1 290
box -8 -3 16 105
use FILL  FILL_102
transform 1 0 304 0 -1 290
box -8 -3 16 105
use FILL  FILL_103
transform 1 0 312 0 -1 290
box -8 -3 16 105
use FILL  FILL_104
transform 1 0 320 0 -1 290
box -8 -3 16 105
use OAI21X1  OAI21X1_1
transform 1 0 328 0 -1 290
box -8 -3 34 105
use FILL  FILL_105
transform 1 0 360 0 -1 290
box -8 -3 16 105
use FILL  FILL_106
transform 1 0 368 0 -1 290
box -8 -3 16 105
use FILL  FILL_107
transform 1 0 376 0 -1 290
box -8 -3 16 105
use FILL  FILL_108
transform 1 0 384 0 -1 290
box -8 -3 16 105
use $$M2_M1_1500_1500_3_1  $$M2_M1_1500_1500_3_1_11
transform 1 0 434 0 1 190
box -7 -2 7 2
use $$M2_M1_1500_1500_3_1  $$M2_M1_1500_1500_3_1_12
transform 1 0 62 0 1 90
box -7 -2 7 2
use $$M3_M2  $$M3_M2_91
transform 1 0 84 0 1 100
box -3 -3 3 3
use $$M3_M2  $$M3_M2_94
transform 1 0 92 0 1 90
box -3 -3 3 3
use FILL  FILL_109
transform -1 0 88 0 1 90
box -8 -3 16 105
use FILL  FILL_110
transform -1 0 96 0 1 90
box -8 -3 16 105
use $$M3_M2  $$M3_M2_84
transform 1 0 116 0 1 170
box -3 -3 3 3
use $$M3_M2  $$M3_M2_92
transform 1 0 108 0 1 100
box -3 -3 3 3
use FILL  FILL_111
transform -1 0 104 0 1 90
box -8 -3 16 105
use FILL  FILL_112
transform -1 0 112 0 1 90
box -8 -3 16 105
use $$M3_M2  $$M3_M2_82
transform 1 0 132 0 1 180
box -3 -3 3 3
use $$M2_M1  $$M2_M1_85
transform 1 0 132 0 1 131
box -2 -2 2 2
use $$M2_M1  $$M2_M1_88
transform 1 0 124 0 1 123
box -2 -2 2 2
use FILL  FILL_113
transform -1 0 120 0 1 90
box -8 -3 16 105
use $$M2_M1  $$M2_M1_89
transform 1 0 148 0 1 100
box -2 -2 2 2
use $$M3_M2  $$M3_M2_93
transform 1 0 148 0 1 100
box -3 -3 3 3
use OAI21X1  OAI21X1_2
transform 1 0 120 0 1 90
box -8 -3 34 105
use $$M2_M1  $$M2_M1_77
transform 1 0 156 0 1 150
box -2 -2 2 2
use FILL  FILL_114
transform -1 0 160 0 1 90
box -8 -3 16 105
use FILL  FILL_115
transform -1 0 168 0 1 90
box -8 -3 16 105
use FILL  FILL_116
transform -1 0 176 0 1 90
box -8 -3 16 105
use FILL  FILL_117
transform -1 0 184 0 1 90
box -8 -3 16 105
use $$M3_M2  $$M3_M2_87
transform 1 0 196 0 1 130
box -3 -3 3 3
use FILL  FILL_118
transform -1 0 192 0 1 90
box -8 -3 16 105
use FILL  FILL_119
transform -1 0 200 0 1 90
box -8 -3 16 105
use $$M3_M2  $$M3_M2_83
transform 1 0 220 0 1 180
box -3 -3 3 3
use $$M2_M1  $$M2_M1_78
transform 1 0 228 0 1 150
box -2 -2 2 2
use $$M2_M1  $$M2_M1_79
transform 1 0 244 0 1 150
box -2 -2 2 2
use $$M2_M1  $$M2_M1_81
transform 1 0 212 0 1 140
box -2 -2 2 2
use FILL  FILL_120
transform -1 0 208 0 1 90
box -8 -3 16 105
use $$M2_M1  $$M2_M1_84
transform 1 0 220 0 1 137
box -2 -2 2 2
use $$M2_M1  $$M2_M1_82
transform 1 0 236 0 1 140
box -2 -2 2 2
use $$M3_M2  $$M3_M2_85
transform 1 0 236 0 1 140
box -3 -3 3 3
use $$M3_M2  $$M3_M2_88
transform 1 0 228 0 1 130
box -3 -3 3 3
use $$M3_M2  $$M3_M2_89
transform 1 0 244 0 1 130
box -3 -3 3 3
use NAND3X1  NAND3X1_4
transform 1 0 208 0 1 90
box -8 -3 40 105
use $$M2_M1  $$M2_M1_87
transform 1 0 252 0 1 127
box -2 -2 2 2
use INVX2  INVX2_6
transform -1 0 256 0 1 90
box -9 -3 26 105
use $$M3_M2  $$M3_M2_90
transform 1 0 268 0 1 130
box -3 -3 3 3
use FILL  FILL_121
transform -1 0 264 0 1 90
box -8 -3 16 105
use FILL  FILL_122
transform -1 0 272 0 1 90
box -8 -3 16 105
use FILL  FILL_123
transform -1 0 280 0 1 90
box -8 -3 16 105
use FILL  FILL_124
transform -1 0 288 0 1 90
box -8 -3 16 105
use FILL  FILL_125
transform -1 0 296 0 1 90
box -8 -3 16 105
use FILL  FILL_126
transform -1 0 304 0 1 90
box -8 -3 16 105
use FILL  FILL_127
transform -1 0 312 0 1 90
box -8 -3 16 105
use $$M2_M1  $$M2_M1_80
transform 1 0 340 0 1 150
box -2 -2 2 2
use $$M2_M1  $$M2_M1_83
transform 1 0 324 0 1 140
box -2 -2 2 2
use $$M3_M2  $$M3_M2_86
transform 1 0 324 0 1 140
box -3 -3 3 3
use FILL  FILL_128
transform -1 0 320 0 1 90
box -8 -3 16 105
use $$M2_M1  $$M2_M1_86
transform 1 0 332 0 1 137
box -2 -2 2 2
use $$M2_M1  $$M2_M1_90
transform 1 0 340 0 1 100
box -2 -2 2 2
use $$M3_M2  $$M3_M2_95
transform 1 0 340 0 1 90
box -3 -3 3 3
use NAND3X1  NAND3X1_5
transform 1 0 320 0 1 90
box -8 -3 40 105
use FILL  FILL_129
transform -1 0 360 0 1 90
box -8 -3 16 105
use FILL  FILL_130
transform -1 0 368 0 1 90
box -8 -3 16 105
use FILL  FILL_131
transform -1 0 376 0 1 90
box -8 -3 16 105
use FILL  FILL_132
transform -1 0 384 0 1 90
box -8 -3 16 105
use FILL  FILL_133
transform -1 0 392 0 1 90
box -8 -3 16 105
use $$M2_M1_1500_1500_3_1  $$M2_M1_1500_1500_3_1_13
transform 1 0 409 0 1 90
box -7 -2 7 2
use $$M2_M1_1500_1500_3_3  $$M2_M1_1500_1500_3_3_4
transform 1 0 62 0 1 72
box -7 -7 7 7
use $$M3_M2  $$M3_M2_96
transform 1 0 132 0 1 80
box -3 -3 3 3
use $$M2_M1_1500_1500_3_3  $$M2_M1_1500_1500_3_3_5
transform 1 0 409 0 1 72
box -7 -7 7 7
use $$M3_M2  $$M3_M2_97
transform 1 0 116 0 1 60
box -3 -3 3 3
use $$M3_M2  $$M3_M2_98
transform 1 0 12 0 1 50
box -3 -3 3 3
use $$M2_M1_1500_1500_3_3  $$M2_M1_1500_1500_3_3_6
transform 1 0 37 0 1 47
box -7 -7 7 7
use $$M3_M2  $$M3_M2_99
transform 1 0 68 0 1 50
box -3 -3 3 3
use $$M2_M1_1500_1500_3_3  $$M2_M1_1500_1500_3_3_7
transform 1 0 434 0 1 47
box -7 -7 7 7
<< labels >>
flabel metal3 2 80 2 80 4 FreeSans 26 0 0 0 alu_op[0]
flabel metal3 2 200 2 200 4 FreeSans 26 0 0 0 funct[2]
flabel metal3 2 60 2 60 4 FreeSans 26 0 0 0 alu_op[1]
flabel metal3 2 270 2 270 4 FreeSans 26 0 0 0 funct[0]
flabel metal3 2 170 2 170 4 FreeSans 26 0 0 0 funct[3]
flabel metal3 2 230 2 230 4 FreeSans 26 0 0 0 funct[1]
flabel metal3 2 130 2 130 4 FreeSans 26 0 0 0 funct[4]
flabel metal3 2 100 2 100 4 FreeSans 26 0 0 0 funct[5]
flabel metal2 268 1 268 1 4 FreeSans 26 0 0 0 op[0]
flabel metal2 308 1 308 1 4 FreeSans 26 0 0 0 op[1]
flabel metal2 188 1 188 1 4 FreeSans 26 0 0 0 op[2]
flabel metal2 108 1 108 1 4 FreeSans 26 0 0 0 op[3]
flabel metal2 92 1 92 1 4 FreeSans 26 0 0 0 op[4]
flabel metal2 68 1 68 1 4 FreeSans 26 0 0 0 op[5]
flabel metal2 52 1 52 1 4 FreeSans 26 0 0 0 op[6]
<< end >>

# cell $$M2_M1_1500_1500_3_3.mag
magic
tech scmos
<< m2contact >>
rect -7 -7 7 7
<< end >>

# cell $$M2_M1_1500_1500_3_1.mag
magic
tech scmos
<< m2contact >>
rect -7 -2 7 2
<< end >>

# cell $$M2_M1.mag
magic
tech scmos
<< m2contact >>
rect -2 -2 2 2
<< end >>

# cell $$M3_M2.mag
magic
tech scmos
<< m3contact >>
rect -2 -2 2 2
<< metal3 >>
rect -3 2 3 3
rect -3 -2 -2 2
rect 2 -2 3 2
rect -3 -3 3 -2
<< end >>

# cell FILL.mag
magic
tech scmos
<< nwell >>
rect -8 48 16 105
<< psubstratepcontact >>
rect -2 -2 2 2
rect 6 -2 10 2
<< nsubstratencontact >>
rect -2 98 2 102
rect 6 98 10 102
<< metal1 >>
rect -2 102 10 103
rect 2 98 6 102
rect -2 97 10 98
rect -2 2 10 3
rect 2 -2 6 2
rect -2 -3 10 -2
<< labels >>
flabel metal1 4 100 4 100 4 FreeSans 26 0 0 0 vdd
flabel metal1 4 0 4 0 4 FreeSans 26 0 0 0 gnd
<< end >>

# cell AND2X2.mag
magic
tech scmos
<< nwell >>
rect -8 48 40 105
<< ntransistor >>
rect 7 6 9 26
rect 12 6 14 26
rect 20 6 22 26
<< ptransistor >>
rect 7 74 9 94
rect 15 74 17 94
rect 23 54 25 94
<< ndiffusion >>
rect 2 25 7 26
rect 6 6 7 25
rect 9 6 12 26
rect 14 25 20 26
rect 14 6 15 25
rect 19 6 20 25
rect 22 25 27 26
rect 22 6 23 25
<< pdiffusion >>
rect 2 93 7 94
rect 6 74 7 93
rect 9 93 15 94
rect 9 74 10 93
rect 14 74 15 93
rect 17 92 23 94
rect 17 74 18 92
rect 22 58 23 92
rect 18 56 23 58
rect 20 54 23 56
rect 25 93 30 94
rect 25 54 26 93
<< ndcontact >>
rect 2 6 6 25
rect 15 6 19 25
rect 23 6 27 25
<< pdcontact >>
rect 2 74 6 93
rect 10 74 14 93
rect 18 58 22 92
rect 26 54 30 93
<< psubstratepcontact >>
rect -2 -2 2 2
rect 14 -2 18 2
<< nsubstratencontact >>
rect -2 98 2 102
rect 14 98 18 102
<< polysilicon >>
rect 7 94 9 96
rect 15 94 17 96
rect 23 94 25 96
rect 7 73 9 74
rect 5 71 9 73
rect 5 41 7 71
rect 6 37 7 41
rect 15 39 17 74
rect 5 30 7 37
rect 16 37 17 39
rect 5 28 9 30
rect 7 26 9 28
rect 12 26 14 35
rect 23 33 25 54
rect 24 31 25 33
rect 20 26 22 29
rect 7 4 9 6
rect 12 4 14 6
rect 20 4 22 6
<< polycontact >>
rect 2 37 6 41
rect 12 35 16 39
rect 20 29 24 33
<< metal1 >>
rect -2 102 34 103
rect 2 98 14 102
rect 18 98 34 102
rect -2 97 34 98
rect 2 93 6 97
rect 10 93 14 94
rect 11 53 14 74
rect 18 92 22 97
rect 18 56 22 58
rect 26 93 30 94
rect 11 50 23 53
rect 10 43 14 47
rect 2 33 6 37
rect 11 39 14 43
rect 11 36 12 39
rect 20 33 23 50
rect 27 47 30 54
rect 26 43 30 47
rect 9 30 20 32
rect 3 29 20 30
rect 3 27 12 29
rect 3 26 6 27
rect 27 26 30 43
rect 2 25 6 26
rect 23 25 30 26
rect 27 21 30 25
rect 15 3 19 6
rect -2 2 34 3
rect 2 -2 14 2
rect 18 -2 34 2
rect -2 -3 34 -2
<< labels >>
flabel metal1 4 100 4 100 4 FreeSans 26 0 0 0 vdd
flabel metal1 4 0 4 0 4 FreeSans 26 0 0 0 gnd
flabel metal1 4 35 4 35 4 FreeSans 26 0 0 0 A
flabel metal1 12 45 12 45 4 FreeSans 26 0 0 0 B
flabel metal1 28 45 28 45 4 FreeSans 26 0 0 0 Y
<< end >>

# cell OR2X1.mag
magic
tech scmos
<< nwell >>
rect -8 48 40 105
<< ntransistor >>
rect 7 6 9 16
rect 15 6 17 16
rect 23 6 25 16
<< ptransistor >>
rect 7 54 9 94
rect 12 54 14 94
rect 20 74 22 94
<< ndiffusion >>
rect 2 15 7 16
rect 6 6 7 15
rect 9 15 15 16
rect 9 6 10 15
rect 14 6 15 15
rect 17 15 23 16
rect 17 6 18 15
rect 22 6 23 15
rect 25 15 30 16
rect 25 6 26 15
<< pdiffusion >>
rect 2 93 7 94
rect 6 54 7 93
rect 9 54 12 94
rect 14 93 20 94
rect 14 54 15 93
rect 19 74 20 93
rect 22 93 27 94
rect 22 74 23 93
<< ndcontact >>
rect 2 6 6 15
rect 10 6 14 15
rect 18 6 22 15
rect 26 6 30 15
<< pdcontact >>
rect 2 54 6 93
rect 15 54 19 93
rect 23 74 27 93
<< psubstratepcontact >>
rect -2 -2 2 2
rect 14 -2 18 2
<< nsubstratencontact >>
rect -2 98 2 102
rect 14 98 18 102
<< polysilicon >>
rect 7 94 9 96
rect 12 94 14 96
rect 20 94 22 96
rect 20 73 22 74
rect 20 71 25 73
rect 7 23 9 54
rect 12 43 14 54
rect 12 41 17 43
rect 15 33 17 41
rect 6 19 9 23
rect 7 16 9 19
rect 15 16 17 29
rect 23 16 25 71
rect 7 4 9 6
rect 15 4 17 6
rect 23 4 25 6
<< polycontact >>
rect 19 47 23 51
rect 14 29 18 33
rect 2 19 6 23
<< metal1 >>
rect -2 102 34 103
rect 2 98 14 102
rect 18 98 34 102
rect -2 97 34 98
rect 2 93 6 94
rect 15 93 19 97
rect 23 93 27 94
rect 24 71 30 74
rect 2 51 6 54
rect 2 48 19 51
rect 27 47 30 71
rect 19 39 22 47
rect 26 43 30 47
rect 10 33 14 37
rect 19 36 24 39
rect 11 29 14 33
rect 2 23 6 27
rect 21 24 24 36
rect 11 21 24 24
rect 11 16 14 21
rect 27 16 30 43
rect 2 15 6 16
rect 10 15 14 16
rect 18 15 22 16
rect 26 15 30 16
rect 2 3 6 6
rect 18 3 22 6
rect -2 2 34 3
rect 2 -2 14 2
rect 18 -2 34 2
rect -2 -3 34 -2
<< labels >>
flabel metal1 28 45 28 45 4 FreeSans 26 0 0 0 Y
flabel metal1 12 35 12 35 4 FreeSans 26 0 0 0 B
flabel metal1 4 100 4 100 4 FreeSans 26 0 0 0 vdd
flabel metal1 4 0 4 0 4 FreeSans 26 0 0 0 gnd
flabel metal1 4 25 4 25 4 FreeSans 26 0 0 0 A
<< end >>

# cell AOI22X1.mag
magic
tech scmos
<< nwell >>
rect -8 48 46 105
<< ntransistor >>
rect 9 6 11 26
rect 14 6 16 26
rect 26 6 28 26
rect 31 6 33 26
<< ptransistor >>
rect 7 54 9 94
rect 15 54 17 94
rect 23 54 25 94
rect 31 54 33 94
<< ndiffusion >>
rect 4 25 9 26
rect 8 6 9 25
rect 11 6 14 26
rect 16 25 26 26
rect 16 6 19 25
rect 23 6 26 25
rect 28 6 31 26
rect 33 25 38 26
rect 33 6 34 25
<< pdiffusion >>
rect 2 92 7 94
rect 6 58 7 92
rect 2 54 7 58
rect 9 60 10 94
rect 14 60 15 94
rect 9 54 15 60
rect 17 93 23 94
rect 17 54 18 93
rect 22 54 23 93
rect 25 88 31 94
rect 25 54 26 88
rect 30 54 31 88
rect 33 93 38 94
rect 33 54 34 93
<< ndcontact >>
rect 4 6 8 25
rect 19 6 23 25
rect 34 6 38 25
<< pdcontact >>
rect 2 58 6 92
rect 10 60 14 94
rect 18 54 22 93
rect 26 54 30 88
rect 34 54 38 93
<< psubstratepcontact >>
rect -2 -2 2 2
rect 14 -2 18 2
rect 30 -2 34 2
<< nsubstratencontact >>
rect -2 98 2 102
rect 14 98 18 102
rect 30 98 34 102
<< polysilicon >>
rect 7 94 9 96
rect 15 94 17 96
rect 23 94 25 96
rect 31 94 33 96
rect 7 49 9 54
rect 15 53 17 54
rect 14 51 17 53
rect 4 29 6 47
rect 4 27 11 29
rect 9 26 11 27
rect 14 26 16 51
rect 23 40 25 54
rect 31 53 33 54
rect 31 51 35 53
rect 33 47 34 51
rect 24 39 25 40
rect 24 29 26 39
rect 33 31 35 47
rect 31 29 35 31
rect 24 27 28 29
rect 26 26 28 27
rect 31 26 33 29
rect 9 4 11 6
rect 14 4 16 6
rect 26 4 28 6
rect 31 4 33 6
<< polycontact >>
rect 6 45 10 49
rect 10 37 14 41
rect 34 47 38 51
rect 25 39 29 43
<< metal1 >>
rect -2 102 42 103
rect 2 98 14 102
rect 18 98 30 102
rect 34 98 42 102
rect -2 97 42 98
rect 10 94 14 97
rect 2 92 6 94
rect 18 93 38 94
rect 2 57 6 58
rect 2 54 18 57
rect 22 91 34 93
rect 26 51 29 54
rect 2 45 6 47
rect 19 48 29 51
rect 19 47 22 48
rect 2 44 10 45
rect 2 43 6 44
rect 18 43 22 47
rect 34 43 38 47
rect 10 33 14 37
rect 19 26 22 43
rect 26 37 29 39
rect 26 33 30 37
rect 4 25 8 26
rect 17 25 25 26
rect 17 6 19 25
rect 23 6 25 25
rect 34 25 38 26
rect 4 3 8 6
rect 34 3 38 6
rect -2 2 42 3
rect 2 -2 14 2
rect 18 -2 30 2
rect 34 -2 42 2
rect -2 -3 42 -2
<< labels >>
flabel metal1 4 0 4 0 4 FreeSans 26 0 0 0 gnd
flabel metal1 4 100 4 100 4 FreeSans 26 0 0 0 vdd
flabel metal1 36 45 36 45 4 FreeSans 26 0 0 0 C
flabel metal1 28 35 28 35 4 FreeSans 26 0 0 0 D
flabel metal1 20 45 20 45 4 FreeSans 26 0 0 0 Y
flabel metal1 4 45 4 45 4 FreeSans 26 0 0 0 A
flabel metal1 12 35 12 35 4 FreeSans 26 0 0 0 B
<< end >>

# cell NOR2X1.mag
magic
tech scmos
<< nwell >>
rect -8 48 32 105
<< ntransistor >>
rect 7 6 9 16
rect 15 6 17 16
<< ptransistor >>
rect 7 54 9 94
rect 12 54 14 94
<< ndiffusion >>
rect 2 15 7 16
rect 6 6 7 15
rect 9 15 15 16
rect 9 6 10 15
rect 14 6 15 15
rect 17 15 22 16
rect 17 6 18 15
<< pdiffusion >>
rect 2 93 7 94
rect 6 54 7 93
rect 9 54 12 94
rect 14 93 19 94
rect 14 54 15 93
<< ndcontact >>
rect 2 6 6 15
rect 10 6 14 15
rect 18 6 22 15
<< pdcontact >>
rect 2 54 6 93
rect 15 54 19 93
<< psubstratepcontact >>
rect -2 -2 2 2
rect 14 -2 18 2
<< nsubstratencontact >>
rect -2 98 2 102
rect 14 98 18 102
<< polysilicon >>
rect 7 94 9 96
rect 12 94 14 96
rect 7 23 9 54
rect 12 53 14 54
rect 12 51 17 53
rect 6 19 9 23
rect 7 16 9 19
rect 15 47 18 51
rect 15 16 17 47
rect 7 4 9 6
rect 15 4 17 6
<< polycontact >>
rect 2 19 6 23
rect 18 47 22 51
<< metal1 >>
rect -2 102 26 103
rect 2 98 14 102
rect 18 98 26 102
rect -2 97 26 98
rect 2 93 6 97
rect 15 93 19 94
rect 10 54 15 58
rect 11 37 14 54
rect 18 43 22 47
rect 10 33 14 37
rect 2 23 6 27
rect 11 16 14 33
rect 2 15 6 16
rect 10 15 14 16
rect 18 15 22 16
rect 2 3 6 6
rect 18 3 22 6
rect -2 2 26 3
rect 2 -2 14 2
rect 18 -2 26 2
rect -2 -3 26 -2
<< labels >>
flabel metal1 4 100 4 100 4 FreeSans 26 0 0 0 vdd
flabel metal1 20 45 20 45 4 FreeSans 26 0 0 0 B
flabel metal1 4 0 4 0 4 FreeSans 26 0 0 0 gnd
flabel metal1 12 35 12 35 4 FreeSans 26 0 0 0 Y
flabel metal1 4 25 4 25 4 FreeSans 26 0 0 0 A
<< end >>

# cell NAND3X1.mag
magic
tech scmos
<< nwell >>
rect -8 48 40 105
<< ntransistor >>
rect 7 6 9 36
rect 12 6 14 36
rect 17 6 19 36
<< ptransistor >>
rect 7 74 9 94
rect 15 74 17 94
rect 23 74 25 94
<< ndiffusion >>
rect 2 35 7 36
rect 6 6 7 35
rect 9 6 12 36
rect 14 6 17 36
rect 19 35 24 36
rect 19 6 20 35
<< pdiffusion >>
rect 2 93 7 94
rect 6 74 7 93
rect 9 93 15 94
rect 9 74 10 93
rect 14 74 15 93
rect 17 92 23 94
rect 17 78 18 92
rect 22 78 23 92
rect 17 74 23 78
rect 25 93 30 94
rect 25 74 26 93
<< ndcontact >>
rect 2 6 6 35
rect 20 6 24 35
<< pdcontact >>
rect 2 74 6 93
rect 10 74 14 93
rect 18 78 22 92
rect 26 74 30 93
<< psubstratepcontact >>
rect -2 -2 2 2
rect 14 -2 18 2
<< nsubstratencontact >>
rect -2 98 2 102
rect 14 98 18 102
<< polysilicon >>
rect 7 94 9 96
rect 15 94 17 96
rect 23 94 25 96
rect 7 53 9 74
rect 15 73 17 74
rect 6 49 9 53
rect 7 36 9 49
rect 12 71 17 73
rect 12 36 14 71
rect 23 63 25 74
rect 22 59 25 63
rect 23 39 25 59
rect 17 37 25 39
rect 17 36 19 37
rect 7 4 9 6
rect 12 4 14 6
rect 17 4 19 6
<< polycontact >>
rect 2 49 6 53
rect 18 59 22 63
rect 14 43 18 47
<< metal1 >>
rect -2 102 34 103
rect 2 98 14 102
rect 18 98 34 102
rect -2 97 34 98
rect 2 93 6 97
rect 10 93 14 94
rect 18 92 22 97
rect 18 76 22 78
rect 26 93 30 94
rect 11 73 14 74
rect 26 73 29 74
rect 11 70 29 73
rect 18 63 22 67
rect 26 57 29 70
rect 2 53 6 57
rect 26 53 30 57
rect 10 43 14 47
rect 26 37 29 53
rect 21 36 29 37
rect 2 35 6 36
rect 20 35 29 36
rect 24 34 29 35
rect 2 3 6 6
rect -2 2 34 3
rect 2 -2 14 2
rect 18 -2 34 2
rect -2 -3 34 -2
<< labels >>
flabel metal1 12 45 12 45 4 FreeSans 26 0 0 0 B
flabel metal1 4 100 4 100 4 FreeSans 26 0 0 0 vdd
flabel metal1 4 0 4 0 4 FreeSans 26 0 0 0 gnd
flabel metal1 4 55 4 55 4 FreeSans 26 0 0 0 A
flabel metal1 20 65 20 65 4 FreeSans 26 0 0 0 C
flabel metal1 28 55 28 55 4 FreeSans 26 0 0 0 Y
<< end >>

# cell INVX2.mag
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
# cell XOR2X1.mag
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
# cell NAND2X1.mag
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
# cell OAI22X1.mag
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
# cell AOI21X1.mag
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
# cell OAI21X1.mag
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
